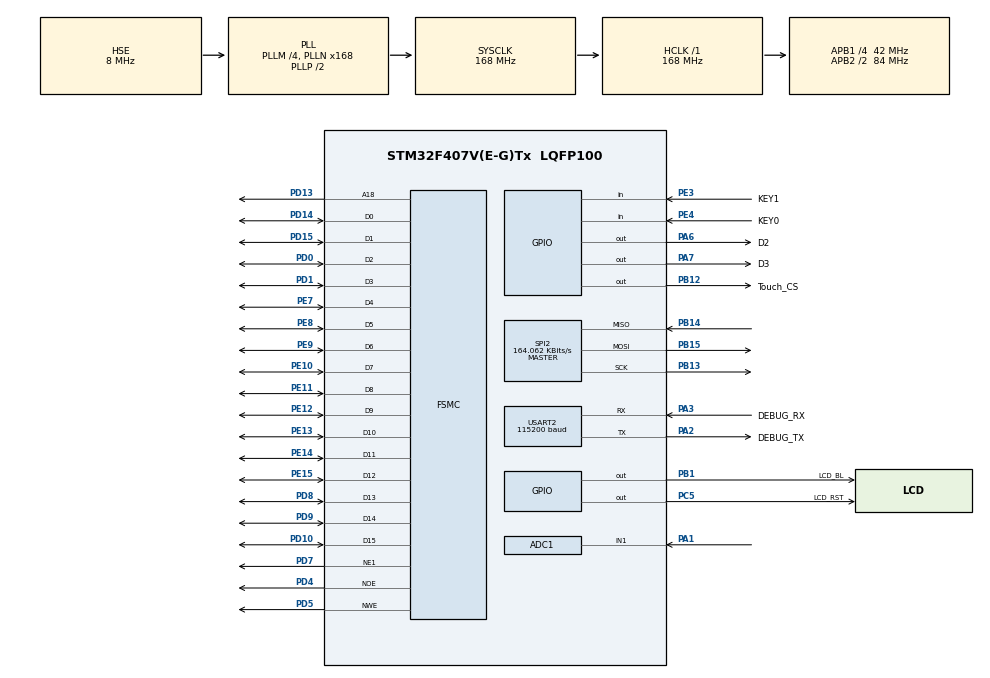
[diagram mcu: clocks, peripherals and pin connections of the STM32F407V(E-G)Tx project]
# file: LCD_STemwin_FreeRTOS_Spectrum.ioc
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ADC1.Channel-7\#ChannelRegularConversion=ADC_CHANNEL_1
ADC1.ContinuousConvMode=ENABLE
ADC1.NbrOfConversionFlag=1
ADC1.Rank-7\#ChannelRegularConversion=1
ADC1.SamplingTime-7\#ChannelRegularConversion=ADC_SAMPLETIME_3CYCLES
ADC1.master=1
Dma.ADC1.0.Direction=DMA_PERIPH_TO_MEMORY
Dma.ADC1.0.FIFOMode=DMA_FIFOMODE_DISABLE
Dma.ADC1.0.Instance=DMA2_Stream0
Dma.ADC1.0.MemDataAlignment=DMA_MDATAALIGN_WORD
Dma.ADC1.0.MemInc=DMA_MINC_ENABLE
Dma.ADC1.0.Mode=DMA_NORMAL
Dma.ADC1.0.PeriphDataAlignment=DMA_PDATAALIGN_WORD
Dma.ADC1.0.PeriphInc=DMA_PINC_DISABLE
Dma.ADC1.0.Priority=DMA_PRIORITY_LOW
Dma.Request0=ADC1
FREERTOS.Queues01=ADCV,64,float,0,Dynamic,NULL,NULL
FREERTOS.Tasks01=defaultTask,-2,64,StartDefaultTask,Default,NULL,Dynamic,NULL,NULL;GUITask,-2,2048,StartGUITask,Default,NULL,Dynamic,NULL,NULL;ADCTask,3,1024,StartADCTask,Default,NULL,Dynamic,NULL,NULL
FREERTOS.configENABLE_BACKWARD_COMPATIBILITY=0
FREERTOS.configIDLE_SHOULD_YIELD=0
FREERTOS.configMAX_TASK_NAME_LEN=12
FREERTOS.configMINIMAL_STACK_SIZE=64
FREERTOS.configQUEUE_REGISTRY_SIZE=0
FREERTOS.configTOTAL_HEAP_SIZE=51200
FREERTOS.configUSE_TASK_NOTIFICATIONS=0
FSMC.AddressSetupTime1=4
FSMC.BusTurnAroundDuration1=0
FSMC.DataSetupTime1=10
Mcu.Family=STM32F4
Mcu.Name=STM32F407V(E-G)Tx
Mcu.Package=LQFP100
NVIC.DMA2_Stream0_IRQn=true\:5\:0\:false\:false\:true\:true\:false
NVIC.PriorityGroup=NVIC_PRIORITYGROUP_4
NVIC.TIM6_DAC_IRQn=true\:0\:0\:false\:false\:true\:false\:false
NVIC.TimeBase=TIM6_DAC_IRQn
NVIC.TimeBaseIP=TIM6
PA0-WKUP.Mode=SYS_WakeUp0
PA0-WKUP.Signal=SYS_WKUP
PA1.Signal=ADCx_IN1
PA13.Mode=Serial_Wire
PA13.Signal=SYS_JTMS-SWDIO
PA14.Mode=Serial_Wire
PA14.Signal=SYS_JTCK-SWCLK
PA2.GPIO_Label=DEBUG_TX
PA2.Mode=Asynchronous
PA2.Signal=USART2_TX
PA3.GPIO_Label=DEBUG_RX
PA3.Mode=Asynchronous
PA3.Signal=USART2_RX
PA6.GPIO_Label=D2
PA6.GPIO_Speed=GPIO_SPEED_FREQ_VERY_HIGH
PA6.Signal=GPIO_Output
PA7.GPIO_Label=D3
PA7.GPIO_Speed=GPIO_SPEED_FREQ_VERY_HIGH
PA7.Signal=GPIO_Output
PB1.GPIO_Label=LCD_BL
PB1.GPIO_Speed=GPIO_SPEED_FREQ_VERY_HIGH
PB1.Signal=GPIO_Output
PB12.GPIO_Label=Touch_CS
PB12.GPIO_Speed=GPIO_SPEED_FREQ_VERY_HIGH
PB12.Signal=GPIO_Output
PB13.Mode=Full_Duplex_Master
PB13.Signal=SPI2_SCK
PB14.Mode=Full_Duplex_Master
PB14.Signal=SPI2_MISO
PB15.Mode=Full_Duplex_Master
PB15.Signal=SPI2_MOSI
PC14-OSC32_IN.Mode=LSE-External-Oscillator
PC14-OSC32_IN.Signal=RCC_OSC32_IN
PC15-OSC32_OUT.Mode=LSE-External-Oscillator
PC15-OSC32_OUT.Signal=RCC_OSC32_OUT
PC5.GPIO_Label=LCD_RST
PC5.GPIO_Speed=GPIO_SPEED_FREQ_VERY_HIGH
PC5.Signal=GPIO_Output
PD0.Mode=16b-d1
PD0.Signal=FSMC_D2
PD1.Mode=16b-d1
PD1.Signal=FSMC_D3
PD10.Mode=16b-d1
PD10.Signal=FSMC_D15
PD13.Mode=A18_1
PD13.Signal=FSMC_A18
PD14.Mode=16b-d1
PD14.Signal=FSMC_D0
PD15.Mode=16b-d1
PD15.Signal=FSMC_D1
PD4.Mode=Lcd1
PD4.Signal=FSMC_NOE
PD5.Mode=Lcd1
PD5.Signal=FSMC_NWE
PD7.Mode=NorPsramChipSelect1_1
PD7.Signal=FSMC_NE1
PD8.Mode=16b-d1
PD8.Signal=FSMC_D13
PD9.Mode=16b-d1
PD9.Signal=FSMC_D14
PE10.Mode=16b-d1
PE10.Signal=FSMC_D7
PE11.Mode=16b-d1
PE11.Signal=FSMC_D8
PE12.Mode=16b-d1
PE12.Signal=FSMC_D9
PE13.Mode=16b-d1
PE13.Signal=FSMC_D10
PE14.Mode=16b-d1
PE14.Signal=FSMC_D11
PE15.Mode=16b-d1
PE15.Signal=FSMC_D12
PE3.GPIO_Label=KEY1
PE3.Signal=GPIO_Input
PE4.GPIO_Label=KEY0
PE4.Signal=GPIO_Input
PE7.Mode=16b-d1
PE7.Signal=FSMC_D4
PE8.Mode=16b-d1
PE8.Signal=FSMC_D5
PE9.Mode=16b-d1
PE9.Signal=FSMC_D6
PH0-OSC_IN.Mode=HSE-External-Oscillator
PH0-OSC_IN.Signal=RCC_OSC_IN
PH1-OSC_OUT.Mode=HSE-External-Oscillator
PH1-OSC_OUT.Signal=RCC_OSC_OUT
ProjectManager.HeapSize=0x1200
ProjectManager.StackSize=0x1600
ProjectManager.TargetToolchain=MDK-ARM V5
RCC.48MHZClocksFreq_Value=48000000
RCC.AHBFreq_Value=168000000
RCC.APB1CLKDivider=RCC_HCLK_DIV4
RCC.APB1Freq_Value=42000000
RCC.APB1TimFreq_Value=84000000
RCC.APB2CLKDivider=RCC_HCLK_DIV2
RCC.APB2Freq_Value=84000000
RCC.APB2TimFreq_Value=168000000
RCC.CortexFreq_Value=168000000
RCC.EnbaleCSS=true
RCC.HCLKFreq_Value=168000000
RCC.HSE_VALUE=8000000
RCC.HSI_VALUE=16000000
RCC.PLLM=4
RCC.PLLN=168
RCC.PLLQ=7
RCC.PLLSourceVirtual=RCC_PLLSOURCE_HSE
RCC.SYSCLKFreq_VALUE=168000000
RCC.SYSCLKSource=RCC_SYSCLKSOURCE_PLLCLK
RCC.VCOOutputFreq_Value=336000000
SH.ADCx_IN1.0=ADC1_IN1,IN1
SPI2.BaudRatePrescaler=SPI_BAUDRATEPRESCALER_256
SPI2.CLKPhase=SPI_PHASE_1EDGE
SPI2.CLKPolarity=SPI_POLARITY_LOW
SPI2.CalculateBaudRate=164.062 KBits/s
SPI2.Direction=SPI_DIRECTION_2LINES
SPI2.Mode=SPI_MODE_MASTER
SPI2.VirtualType=VM_MASTER
USART2.BaudRate=115200
USART2.VirtualMode=VM_ASYNC
VP_CRC_VS_CRC.Mode=CRC_Activate
VP_FREERTOS_VS_ENABLE.Mode=Enabled
VP_SYS_VS_tim6.Mode=TIM6
board=LCD_Drive

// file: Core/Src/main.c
/* USER CODE BEGIN Header */
/**
  ******************************************************************************
  * @file           : main.c
  * @brief          : Main program body
  ******************************************************************************
  * This notice applies to any and all portions of this file
  * that are not between comment pairs USER CODE BEGIN and
  * USER CODE END. Other portions of this file, whether
  * inserted by the user or by software development tools
  * are owned by their respective copyright owners.
  *
  * Copyright (c) 2019 STMicroelectronics International N.V.
  * All rights reserved.
  *
  * Redistribution and use in source and binary forms, with or without
  * modification, are permitted, provided that the following conditions are met:
  *
  * 1. Redistribution of source code must retain the above copyright notice,
  *    this list of conditions and the following disclaimer.
  * 2. Redistributions in binary form must reproduce the above copyright notice,
  *    this list of conditions and the following disclaimer in the documentation
  *    and/or other materials provided with the distribution.
  * 3. Neither the name of STMicroelectronics nor the names of other
  *    contributors to this software may be used to endorse or promote products
  *    derived from this software without specific written permission.
  * 4. This software, including modifications and/or derivative works of this
  *    software, must execute solely and exclusively on microcontroller or
  *    microprocessor devices manufactured by or for STMicroelectronics.
  * 5. Redistribution and use of this software other than as permitted under
  *    this license is void and will automatically terminate your rights under
  *    this license.
  *
  * THIS SOFTWARE IS PROVIDED BY STMICROELECTRONICS AND CONTRIBUTORS "AS IS"
  * AND ANY EXPRESS, IMPLIED OR STATUTORY WARRANTIES, INCLUDING, BUT NOT
  * LIMITED TO, THE IMPLIED WARRANTIES OF MERCHANTABILITY, FITNESS FOR A
  * PARTICULAR PURPOSE AND NON-INFRINGEMENT OF THIRD PARTY INTELLECTUAL PROPERTY
  * RIGHTS ARE DISCLAIMED TO THE FULLEST EXTENT PERMITTED BY LAW. IN NO EVENT
  * SHALL STMICROELECTRONICS OR CONTRIBUTORS BE LIABLE FOR ANY DIRECT, INDIRECT,
  * INCIDENTAL, SPECIAL, EXEMPLARY, OR CONSEQUENTIAL DAMAGES (INCLUDING, BUT NOT
  * LIMITED TO, PROCUREMENT OF SUBSTITUTE GOODS OR SERVICES; LOSS OF USE, DATA,
  * OR PROFITS; OR BUSINESS INTERRUPTION) HOWEVER CAUSED AND ON ANY THEORY OF
  * LIABILITY, WHETHER IN CONTRACT, STRICT LIABILITY, OR TORT (INCLUDING
  * NEGLIGENCE OR OTHERWISE) ARISING IN ANY WAY OUT OF THE USE OF THIS SOFTWARE,
  * EVEN IF ADVISED OF THE POSSIBILITY OF SUCH DAMAGE.
  *
  ******************************************************************************
  */
/* USER CODE END Header */

#include "main.h"
#include "cmsis_os.h"
#include "adc.h"
#include "crc.h"
#include "dma.h"
#include "spi.h"
#include "usart.h"
#include "gpio.h"
#include "fsmc.h"

void SystemClock_Config(void);
void MX_FREERTOS_Init(void);

int main(void)
{

  /* MCU Configuration--------------------------------------------------------*/

  /* Reset of all peripherals, Initializes the Flash interface and the Systick. */
  HAL_Init();

  /* Configure the system clock */
  SystemClock_Config();

  /* Initialize all configured peripherals */
  MX_GPIO_Init();
  MX_DMA_Init();
  MX_USART2_UART_Init();
  MX_FSMC_Init();
  MX_CRC_Init();
  MX_SPI2_Init();
  MX_ADC1_Init();

  /* Call init function for freertos objects (in freertos.c) */
  MX_FREERTOS_Init();

  /* Start scheduler */
  osKernelStart();

  /* We should never get here as control is now taken by the scheduler */

  /* Infinite loop */
  while (1)
  {

  }
}

void SystemClock_Config(void)
{
  RCC_OscInitTypeDef RCC_OscInitStruct = {0};
  RCC_ClkInitTypeDef RCC_ClkInitStruct = {0};

  /**Configure the main internal regulator output voltage
  */
  __HAL_RCC_PWR_CLK_ENABLE();
  __HAL_PWR_VOLTAGESCALING_CONFIG(PWR_REGULATOR_VOLTAGE_SCALE1);
  /**Initializes the CPU, AHB and APB busses clocks
  */
  RCC_OscInitStruct.OscillatorType = RCC_OSCILLATORTYPE_HSE;
  RCC_OscInitStruct.HSEState = RCC_HSE_ON;
  RCC_OscInitStruct.PLL.PLLState = RCC_PLL_ON;
  RCC_OscInitStruct.PLL.PLLSource = RCC_PLLSOURCE_HSE;
  RCC_OscInitStruct.PLL.PLLM = 4;
  RCC_OscInitStruct.PLL.PLLN = 168;
  RCC_OscInitStruct.PLL.PLLP = RCC_PLLP_DIV2;
  RCC_OscInitStruct.PLL.PLLQ = 7;
  if (HAL_RCC_OscConfig(&RCC_OscInitStruct) != HAL_OK)
  {
    Error_Handler();
  }
  /**Initializes the CPU, AHB and APB busses clocks
  */
  RCC_ClkInitStruct.ClockType = RCC_CLOCKTYPE_HCLK|RCC_CLOCKTYPE_SYSCLK
                              |RCC_CLOCKTYPE_PCLK1|RCC_CLOCKTYPE_PCLK2;
  RCC_ClkInitStruct.SYSCLKSource = RCC_SYSCLKSOURCE_PLLCLK;
  RCC_ClkInitStruct.AHBCLKDivider = RCC_SYSCLK_DIV1;
  RCC_ClkInitStruct.APB1CLKDivider = RCC_HCLK_DIV4;
  RCC_ClkInitStruct.APB2CLKDivider = RCC_HCLK_DIV2;

  if (HAL_RCC_ClockConfig(&RCC_ClkInitStruct, FLASH_LATENCY_5) != HAL_OK)
  {
    Error_Handler();
  }
  /**Enables the Clock Security System
  */
  HAL_RCC_EnableCSS();
}

void HAL_TIM_PeriodElapsedCallback(TIM_HandleTypeDef *htim)
{
  if (htim->Instance == TIM6) {
    HAL_IncTick();
  }
}

void Error_Handler(void)
{
}

/************************ (C) COPYRIGHT STMicroelectronics *****END OF FILE****/

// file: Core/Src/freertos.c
/* USER CODE BEGIN Header */
/**
  ******************************************************************************
  * File Name          : freertos.c
  * Description        : Code for freertos applications
  ******************************************************************************
  * This notice applies to any and all portions of this file
  * that are not between comment pairs USER CODE BEGIN and
  * USER CODE END. Other portions of this file, whether
  * inserted by the user or by software development tools
  * are owned by their respective copyright owners.
  *
  * Copyright (c) 2019 STMicroelectronics International N.V.
  * All rights reserved.
  *
  * Redistribution and use in source and binary forms, with or without
  * modification, are permitted, provided that the following conditions are met:
  *
  * 1. Redistribution of source code must retain the above copyright notice,
  *    this list of conditions and the following disclaimer.
  * 2. Redistributions in binary form must reproduce the above copyright notice,
  *    this list of conditions and the following disclaimer in the documentation
  *    and/or other materials provided with the distribution.
  * 3. Neither the name of STMicroelectronics nor the names of other
  *    contributors to this software may be used to endorse or promote products
  *    derived from this software without specific written permission.
  * 4. This software, including modifications and/or derivative works of this
  *    software, must execute solely and exclusively on microcontroller or
  *    microprocessor devices manufactured by or for STMicroelectronics.
  * 5. Redistribution and use of this software other than as permitted under
  *    this license is void and will automatically terminate your rights under
  *    this license.
  *
  * THIS SOFTWARE IS PROVIDED BY STMICROELECTRONICS AND CONTRIBUTORS "AS IS"
  * AND ANY EXPRESS, IMPLIED OR STATUTORY WARRANTIES, INCLUDING, BUT NOT
  * LIMITED TO, THE IMPLIED WARRANTIES OF MERCHANTABILITY, FITNESS FOR A
  * PARTICULAR PURPOSE AND NON-INFRINGEMENT OF THIRD PARTY INTELLECTUAL PROPERTY
  * RIGHTS ARE DISCLAIMED TO THE FULLEST EXTENT PERMITTED BY LAW. IN NO EVENT
  * SHALL STMICROELECTRONICS OR CONTRIBUTORS BE LIABLE FOR ANY DIRECT, INDIRECT,
  * INCIDENTAL, SPECIAL, EXEMPLARY, OR CONSEQUENTIAL DAMAGES (INCLUDING, BUT NOT
  * LIMITED TO, PROCUREMENT OF SUBSTITUTE GOODS OR SERVICES; LOSS OF USE, DATA,
  * OR PROFITS; OR BUSINESS INTERRUPTION) HOWEVER CAUSED AND ON ANY THEORY OF
  * LIABILITY, WHETHER IN CONTRACT, STRICT LIABILITY, OR TORT (INCLUDING
  * NEGLIGENCE OR OTHERWISE) ARISING IN ANY WAY OUT OF THE USE OF THIS SOFTWARE,
  * EVEN IF ADVISED OF THE POSSIBILITY OF SUCH DAMAGE.
  *
  ******************************************************************************
  */
/* USER CODE END Header */

#include "FreeRTOS.h"
#include "task.h"
#include "main.h"
#include "cmsis_os.h"

/* USER CODE BEGIN Includes */
//外设
#include "adc.h"

//第三方库
#include "gui.h"
#include "DIALOG.h"
#include "arm_math.h"
//BSP库
#include "bsp_led.h"

/* USER CODE END Includes */

osThreadId defaultTaskHandle;
osThreadId GUITaskHandle;
osThreadId ADCTaskHandle;
osMessageQId ADCVHandle;

/* USER CODE BEGIN FunctionPrototypes */

WM_HWIN CreateSpectrum(void);

/* USER CODE END FunctionPrototypes */

void StartDefaultTask(void const * argument);
void StartGUITask(void const * argument);
void StartADCTask(void const * argument);

void MX_FREERTOS_Init(void); /* (MISRA C 2004 rule 8.1) */

void MX_FREERTOS_Init(void) {

  /* Create the thread(s) */
  /* definition and creation of defaultTask */
  osThreadDef(defaultTask, StartDefaultTask, osPriorityLow, 0, 64);
  defaultTaskHandle = osThreadCreate(osThread(defaultTask), NULL);

  /* definition and creation of GUITask */
  osThreadDef(GUITask, StartGUITask, osPriorityLow, 0, 4096);
  GUITaskHandle = osThreadCreate(osThread(GUITask), NULL);

  /* definition and creation of ADCTask */
  osThreadDef(ADCTask, StartADCTask, osPriorityRealtime, 0, 1024);
  ADCTaskHandle = osThreadCreate(osThread(ADCTask), NULL);

  /* Create the queue(s) */
  /* definition and creation of ADCV */
  osMessageQDef(ADCV, 8, float);
  ADCVHandle = osMessageCreate(osMessageQ(ADCV), NULL);

}

void StartDefaultTask(void const * argument)
{

  /* USER CODE BEGIN StartDefaultTask */
  /* Infinite loop */
  for(;;)
  {

			 LED1_ON;
		  LED2_ON;
			 osDelay(50);
			 LED1_OFF;
			 LED2_OFF;
    osDelay(950);
  }
  /* USER CODE END StartDefaultTask */
}

void StartGUITask(void const * argument)
{
  /* USER CODE BEGIN StartGUITask */
	 osEvent ADCEVENT;
//
	 WM_HWIN hItem;
		GRAPH_DATA_Handle hGRAPH_Data;
		GRAPH_SCALE_Handle hGRAPH_Scale; //刻度的句柄

	 short Cap;

	 GUI_Init();
	 GUI_SetBkColor(GUI_BLUE);
	 GUI_Clear();
	 GUI_DispStringAtCEOL("ADC",160,120);
//
	 hItem =CreateSpectrum();
  hItem = WM_GetDialogItem(hItem, 0x800 + 0x01);

	 hGRAPH_Data = GRAPH_DATA_YT_Create(GUI_GREEN, 240, 0, 0);
  GRAPH_AttachData(hItem, hGRAPH_Data);
		GRAPH_DATA_YT_SetAlign(hGRAPH_Data, GRAPH_ALIGN_LEFT); //数据左对齐

  GRAPH_SetBorder(hItem, 30, 0, 0, 0);
	 GRAPH_SetGridDistX(hItem, 10); //设置栅格距离
  GRAPH_SetGridDistY(hItem, 10);
  GRAPH_SetGridVis(hItem, 1);

		hGRAPH_Scale = GRAPH_SCALE_Create(30, GUI_TA_RIGHT, GRAPH_SCALE_CF_VERTICAL | GRAPH_SCALE_CF_HORIZONTAL, 10); //刻度创建
  GRAPH_AttachScale(hItem, hGRAPH_Scale);
		GRAPH_SCALE_SetFactor(hGRAPH_Scale,1); //设置用于计算要绘制的编号的因子，也就是刻度的比例
  /* Infinite loop */
  for(;;)
  {

				 ADCEVENT=osMessageGet(ADCVHandle,10);
		  	Cap=(short) (ADCEVENT.value.v);
				 GRAPH_DATA_YT_AddValue(hGRAPH_Data,Cap);

				 GUI_Exec();
     osDelay(10);
  }
  /* USER CODE END StartGUITask */
}

void StartADCTask(void const * argument)
{
  /* USER CODE BEGIN StartADCTask */
	 float ADC_V[1024];
	 float ADC_Data;
	 float ADC_O[512];

  arm_cfft_instance_f32 arm_cfft_sR_f32_len1024;
  /* Infinite loop */
  for(;;)
  {

//    HAL_ADC_Start_DMA(&hadc1,&ADC_Data,1);
//			 ADC_V = (float) (ADC_Data*(3.3/4095));
//			 ADC_V*=70;
//    HAL_ADC_Stop_DMA(&hadc1);
//			for(uint16_t i=0;i<1024;i++)
//			{
//			 	ADC_V[i] = arm_sin_f32(ADC_Data);
//				 ADC_Data+=PI/512;
//			}

//			if(ADC_Data>2*PI) ADC_Data=0;
//			arm_abs_f32(&ADC_V,&ADC_V,1);
//			ADC_V*=220;

// /* Process the data through the CFFT/CIFFT module */
//  arm_cfft_f32(&arm_cfft_sR_f32_len1024, ADC_V, 0, 1);

//  /* Process the data through the Complex Magnitude Module for
//  calculating the magnitude at each bin */
//  arm_cmplx_mag_f32(ADC_V, ADC_O, 1024);

//		osMessagePut(ADCVHandle,(uint32_t)&ADC_O,0);
  osDelay(5);
  }
  /* USER CODE END StartADCTask */
}

/************************ (C) COPYRIGHT STMicroelectronics *****END OF FILE****/
